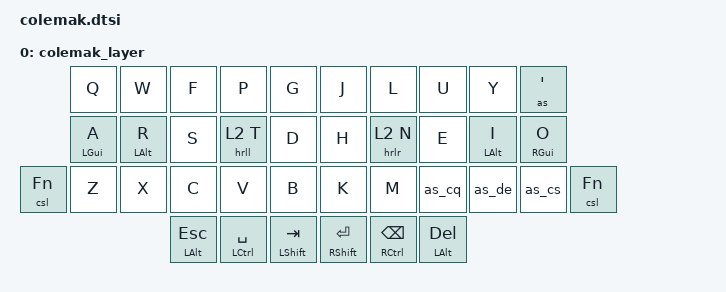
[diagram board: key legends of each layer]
/**
 * Alpha Layer - Colemak
 */

/ {
  keymap {
    compatible = "zmk,keymap";

    colemak_layer {
      display-name = DISPLAY_NAME;
      bindings = <
//                 ╭───────────────┬───────────────┬───────────────┬───────────────┬───────────────╮   ╭───────────────┬───────────────┬───────────────┬───────────────┬───────────────╮
//                 │0              │1              │2              │3              │4              │   │5              │6              │7              │8              │9              │
                    &kp Q           &kp W           &kp F           &kp P           &kp G               &kp J           &kp L           &kp U           &kp Y           &as SQT
//                 ├───────────────┼───────────────┼───────────────┼───────────────┼───────────────┤   ├───────────────├───────────────┼───────────────┼───────────────┼───────────────┤
//                 │10             │11             │12             │13             │14             │   │15             │16             │17             │18             │19             │
                    &hrml LGUI A    &hrml LALT R    &kp S           &hrll L2 T      &kp D               &kp H           &hrlr L2 N      &kp E           &hrmr LALT I    &hrmr RGUI O
// ╭───────────────┬───────────────┼───────────────┼───────────────┼───────────────┼───────────────┤   ├───────────────├───────────────┼───────────────┼───────────────┼───────────────┬───────────────╮
//  20             │21             │22             │23             │24             │25             │   │26             │27             │28             │29             │30             │31             │
    &csl Fn         &kp Z           &kp X           &kp C           &kp V           &kp B               &kp K           &kp M           &as_cq          &as_de          &as_cs          &csl Fn
// ╰───────────────┴───────────────┴───────────────┼───────────────┼───────────────┼───────────────┤   ├───────────────├───────────────┼───────────────┼───────────────┴───────────────┴───────────────╯
//                                                 │32             │33             │34             │   │35             │36             │37             │
                                                    &mt LALT ESC    &mt LCTRL SPACE &mt LSHFT TAB       &mt RSHFT RET   &mt RCTRL BSPC  &mt LALT DEL
//                                                 ╰───────────────┴───────────────┴───────────────╯   ╰───────────────┴───────────────┴───────────────╯
      >;
    };
  };
};
